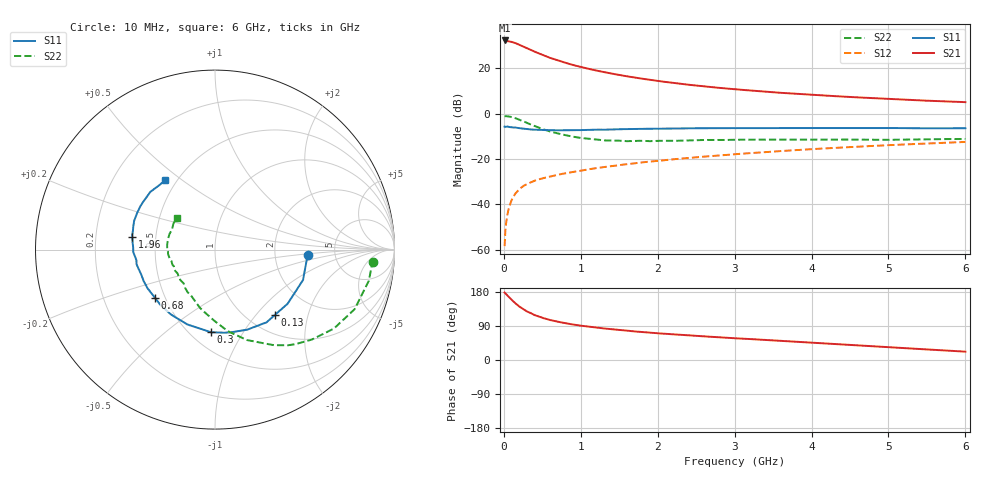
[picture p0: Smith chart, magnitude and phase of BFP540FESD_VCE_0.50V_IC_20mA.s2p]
! Infineon Technologies  Discrete & RF Semiconductors
! BFP540FESD
! VCE = 0.50 V,  IC =  20 mA
! Common Emitter S-Parameters:  Nov 2015
# GHz  S  MA  R  50
!  f  S11  S21  S12  S22
! GHz  MAG  ANG  MAG  ANG  MAG  ANG  MAG  ANG
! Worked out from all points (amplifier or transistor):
!   210 points, 10 MHz to 6 GHz, reference 50 ohm
!   highest |S21| = 32.3 dB at 10 MHz (marker M1)
!   |S21| within 3 dB of that: start of sweep to 273.7 MHz
!   unconditionally stable (mu >= 1): start of sweep to 15.15 MHz; 1.586 GHz to end of sweep
!   at 185 MHz: K = 0.33, MSG = 32.3 dB, |S12| = -33.9 dB
!   at 1.52 GHz: K = 0.99, MSG = 19.8 dB, |S12| = -22.6 dB
!   at 6 GHz: K = 1.15, MAG = 6.4 dB, |S12| = -12.5 dB
!   S11 on the Smith chart (normalised r, x): 10 MHz: 3.12, -0.25; 130 MHz: 1.31, -1.26; 300 MHz: 0.63, -0.73; 680 MHz: 0.44, -0.29; 1.96 GHz: 0.37, +0.07; 6 GHz: 0.43, +0.43
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0.01  0.517 -3.3  40.98 177.7  0.0012 97.2  0.8803 -4.5
0.02  0.5127 -9.6  39.71 175.9  0.0027 95.5  0.8805 -4.2
0.05  0.519 -19.0  39.68 169.6  0.0064 84.9  0.8747 -11.4
0.1  0.5046 -36.7  38.13 159.1  0.0123 77.0  0.8458 -23.1
0.13  0.4939 -47.4  36.69 153.5  0.0153 73.7  0.8125 -29.2
0.15  0.4966 -54.7  35.94 149.5  0.0173 72.1  0.7958 -33.5
0.2  0.4808 -68.0  33.08 141.3  0.0213 66.5  0.7364 -42.9
0.24  0.4696 -78.4  30.8 135.7  0.0244 64.6  0.6917 -49.6
0.3  0.4609 -92.7  27.68 128.1  0.0281 60.9  0.6259 -58.3
0.4  0.4446 -110.4  23.19 118.5  0.0332 57.4  0.5342 -70.6
0.5  0.4369 -124.2  19.72 111.2  0.0375 56.3  0.4601 -81.0
0.6  0.4332 -134.4  16.96 105.6  0.041 56.0  0.405 -89.1
0.68  0.429 -140.9  15.3 102.0  0.044 55.7  0.3735 -94.9
0.8  0.4332 -150.2  13.16 97.0  0.0486 55.2  0.3358 -104.4
1.02  0.4342 -161.7  10.48 90.1  0.056 55.1  0.2891 -117.7
1.48  0.4541 -177.6  7.206 79.5  0.0725 55.4  0.2541 -141.8
1.96  0.4666 171.1  5.368 71.2  0.0896 54.2  0.2499 -159.4
2.02  0.4683 169.7  5.195 70.2  0.0916 53.9  0.2515 -160.9
3.1  0.4795 155.1  3.341 56.4  0.1311 49.2  0.2664 179.3
4.1  0.4807 146.4  2.543 44.6  0.1686 42.9  0.2681 166.5
5.1  0.4809 137.0  2.077 32.7  0.2054 34.6  0.2663 153.1
6  0.4766 126.1  1.791 22.0  0.2376 26.7  0.2767 140.8
